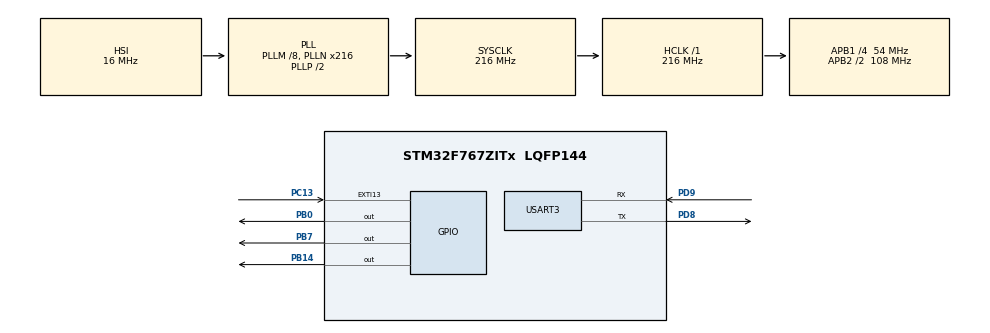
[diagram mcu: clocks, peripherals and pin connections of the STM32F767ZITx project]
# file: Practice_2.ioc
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CORTEX_M7.default_mode_Activation=1
Mcu.Family=STM32F7
Mcu.Name=STM32F767ZITx
Mcu.Package=LQFP144
NVIC.EXTI15_10_IRQn=true\:1\:0\:true\:false\:true\:true\:true\:true
NVIC.PriorityGroup=NVIC_PRIORITYGROUP_4
NVIC.TIM1_UP_TIM10_IRQn=true\:2\:0\:true\:false\:true\:true\:true\:true
PB0.Signal=GPIO_Output
PB14.Signal=GPIO_Output
PB7.Signal=GPIO_Output
PC13.Signal=GPXTI13
PD8.Mode=Asynchronous
PD8.Signal=USART3_TX
PD9.Mode=Asynchronous
PD9.Signal=USART3_RX
ProjectManager.HeapSize=0x200
ProjectManager.StackSize=0x400
ProjectManager.TargetToolchain=STM32CubeIDE
RCC.AHBFreq_Value=216000000
RCC.APB1CLKDivider=RCC_HCLK_DIV4
RCC.APB1Freq_Value=54000000
RCC.APB1TimFreq_Value=108000000
RCC.APB2CLKDivider=RCC_HCLK_DIV2
RCC.APB2Freq_Value=108000000
RCC.APB2TimFreq_Value=216000000
RCC.CortexFreq_Value=216000000
RCC.HCLKFreq_Value=216000000
RCC.HSE_VALUE=25000000
RCC.HSI_VALUE=16000000
RCC.LSE_VALUE=32768
RCC.PLLM=8
RCC.PLLN=216
RCC.SYSCLKFreq_VALUE=216000000
RCC.SYSCLKSource=RCC_SYSCLKSOURCE_PLLCLK
RCC.USBFreq_Value=216000000
RCC.VCOOutputFreq_Value=432000000
TIM1.Period=10000
TIM1.Prescaler=21600-1
USART3.VirtualMode-Asynchronous=VM_ASYNC
VP_TIM1_VS_ClockSourceINT.Mode=Internal
board=custom

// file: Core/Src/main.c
/* USER CODE BEGIN Header */
/**
  ******************************************************************************
  * @file           : main.c
  * @brief          : Main program body
  ******************************************************************************
  * @attention
  *
  * Copyright (c) 2024 STMicroelectronics.
  * All rights reserved.
  *
  * This software is licensed under terms that can be found in the LICENSE file
  * in the root directory of this software component.
  * If no LICENSE file comes with this software, it is provided AS-IS.
  *
  ******************************************************************************
  */
/* USER CODE END Header */
#include "main.h"
#include "tim.h"
#include "usart.h"
#include "gpio.h"

/* USER CODE BEGIN Includes */
#include "string.h"
/* USER CODE END Includes */

/* USER CODE BEGIN PV */
int count = 1030;
int flag = 0;
uint32_t time = 0;
uint32_t prevTime = 0;
uint8_t led_sequence_active = 0;
uint32_t led_sequence_start_time = 0;
/* USER CODE END PV */

void SystemClock_Config(void);
static void MPU_Config(void);

int main(void)
{

  /* MPU Configuration--------------------------------------------------------*/
  MPU_Config();

  /* MCU Configuration--------------------------------------------------------*/

  /* Reset of all peripherals, Initializes the Flash interface and the Systick. */
  HAL_Init();

  /* Configure the system clock */
  SystemClock_Config();

  /* Initialize all configured peripherals */
  MX_GPIO_Init();
  MX_TIM1_Init();
  MX_USART3_UART_Init();
  /* USER CODE BEGIN 2 */

  HAL_TIM_Base_Start_IT(&htim1);
  /* USER CODE END 2 */

  /* Infinite loop */
  while (1)
  {

    /* USER CODE BEGIN 3 */
	  handle_led_sequence();
	  if (flag == 1) {
//		  break;
		  return 0;
	  }
//	  if (count <= 1000) {
//		  HAL_UART_Transmit(&huart3, (uint8_t *) "STOP", strlen("STOP"), 100);
//		  return 0;
//	  }
  }
  /* USER CODE END 3 */
}

void SystemClock_Config(void)
{
  RCC_OscInitTypeDef RCC_OscInitStruct = {0};
  RCC_ClkInitTypeDef RCC_ClkInitStruct = {0};

  /** Configure the main internal regulator output voltage
  */
  __HAL_RCC_PWR_CLK_ENABLE();
  __HAL_PWR_VOLTAGESCALING_CONFIG(PWR_REGULATOR_VOLTAGE_SCALE1);

  /** Initializes the RCC Oscillators according to the specified parameters
  * in the RCC_OscInitTypeDef structure.
  */
  RCC_OscInitStruct.OscillatorType = RCC_OSCILLATORTYPE_HSI;
  RCC_OscInitStruct.HSIState = RCC_HSI_ON;
  RCC_OscInitStruct.HSICalibrationValue = RCC_HSICALIBRATION_DEFAULT;
  RCC_OscInitStruct.PLL.PLLState = RCC_PLL_ON;
  RCC_OscInitStruct.PLL.PLLSource = RCC_PLLSOURCE_HSI;
  RCC_OscInitStruct.PLL.PLLM = 8;
  RCC_OscInitStruct.PLL.PLLN = 216;
  RCC_OscInitStruct.PLL.PLLP = RCC_PLLP_DIV2;
  RCC_OscInitStruct.PLL.PLLQ = 2;
  RCC_OscInitStruct.PLL.PLLR = 2;
  if (HAL_RCC_OscConfig(&RCC_OscInitStruct) != HAL_OK)
  {
    Error_Handler();
  }

  /** Activate the Over-Drive mode
  */
  if (HAL_PWREx_EnableOverDrive() != HAL_OK)
  {
    Error_Handler();
  }

  /** Initializes the CPU, AHB and APB buses clocks
  */
  RCC_ClkInitStruct.ClockType = RCC_CLOCKTYPE_HCLK|RCC_CLOCKTYPE_SYSCLK
                              |RCC_CLOCKTYPE_PCLK1|RCC_CLOCKTYPE_PCLK2;
  RCC_ClkInitStruct.SYSCLKSource = RCC_SYSCLKSOURCE_PLLCLK;
  RCC_ClkInitStruct.AHBCLKDivider = RCC_SYSCLK_DIV1;
  RCC_ClkInitStruct.APB1CLKDivider = RCC_HCLK_DIV4;
  RCC_ClkInitStruct.APB2CLKDivider = RCC_HCLK_DIV2;

  if (HAL_RCC_ClockConfig(&RCC_ClkInitStruct, FLASH_LATENCY_7) != HAL_OK)
  {
    Error_Handler();
  }
}

/* USER CODE BEGIN 4 */
void handle_led_sequence(void)
{
  if (led_sequence_active) {
    uint32_t current_time = HAL_GetTick();

    if (current_time - led_sequence_start_time >= 1000) {
      HAL_GPIO_WritePin(GPIOB, GPIO_PIN_0, 1);
    }
    if (current_time - led_sequence_start_time >= 2000) {
      HAL_GPIO_WritePin(GPIOB, GPIO_PIN_7, 1);
    }
    if (current_time - led_sequence_start_time >= 3000) {
      HAL_GPIO_WritePin(GPIOB, GPIO_PIN_14, 1);
    }
    if (current_time - led_sequence_start_time >= 4000) {
      HAL_GPIO_WritePin(GPIOB, GPIO_PIN_0, 0);
      HAL_GPIO_WritePin(GPIOB, GPIO_PIN_7, 0);
      HAL_GPIO_WritePin(GPIOB, GPIO_PIN_14, 0);

      led_sequence_active = 0;
    }
  }
}
/* USER CODE END 4 */

 /* MPU Configuration */

void MPU_Config(void)
{
  MPU_Region_InitTypeDef MPU_InitStruct = {0};

  /* Disables the MPU */
  HAL_MPU_Disable();

  /** Initializes and configures the Region and the memory to be protected
  */
  MPU_InitStruct.Enable = MPU_REGION_ENABLE;
  MPU_InitStruct.Number = MPU_REGION_NUMBER0;
  MPU_InitStruct.BaseAddress = 0x0;
  MPU_InitStruct.Size = MPU_REGION_SIZE_4GB;
  MPU_InitStruct.SubRegionDisable = 0x87;
  MPU_InitStruct.TypeExtField = MPU_TEX_LEVEL0;
  MPU_InitStruct.AccessPermission = MPU_REGION_NO_ACCESS;
  MPU_InitStruct.DisableExec = MPU_INSTRUCTION_ACCESS_DISABLE;
  MPU_InitStruct.IsShareable = MPU_ACCESS_SHAREABLE;
  MPU_InitStruct.IsCacheable = MPU_ACCESS_NOT_CACHEABLE;
  MPU_InitStruct.IsBufferable = MPU_ACCESS_NOT_BUFFERABLE;

  HAL_MPU_ConfigRegion(&MPU_InitStruct);
  /* Enables the MPU */
  HAL_MPU_Enable(MPU_PRIVILEGED_DEFAULT);

}

void Error_Handler(void)
{
  __disable_irq();
  while (1)
  {
  }
}
